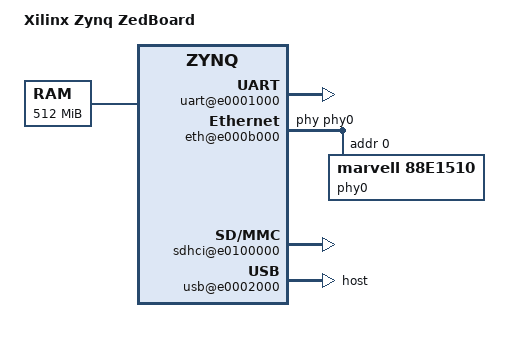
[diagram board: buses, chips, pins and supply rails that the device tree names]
/dts-v1/;

/ {
	model = "Xilinx Zynq ZedBoard";
	compatible = "xlnx,zynq-zc702";
	#address-cells = <0x1>;
	#size-cells = <0x1>;
	interrupt-parent = <0x1>;

	memory {
		device_type = "memory";
		reg = <0x0 0x20000000>;
   	};

	chosen {
		bootargs = "console=ttyPS0,115200 root=/dev/ram rw initrd=0x2000000,32M earlyprintk maxcpus=2 debug ip=192.168.1.10";
		linux,stdout-path = "/amba@0/uart@E0001000";
	};

amba@0 {
		compatible = "simple-bus";
		#address-cells = <0x1>;
		#size-cells = <0x1>;
		ranges;

		gic: intc@f8f01000 {
			interrupt-controller;
			compatible = "arm,cortex-a9-gic";
			#interrupt-cells = <3>;
			reg = < 0xf8f01000 0x1000 >,
			      < 0xf8f00100 0x0100 >;
		};

		pl310@f8f02000 {
			compatible = "arm,pl310-cache";
			cache-unified;
			cache-level = <2>;
			reg = <0xf8f02000 0x1000>;
			arm,data-latency = <3 2 2>;
			arm,tag-latency = <2 2 2>;
			interrupts = <0 34 4>;
		};

		uart@e0001000 {
			compatible = "xlnx,ps7-uart-1.00.a";
			reg = <0xe0001000 0x1000>;
			interrupts = < 0 50 0 >;
			interrupt-parent = <&gic>;
			clock = <50000000>;
		};

		timer@0xf8001000 {
			compatible = "xlnx,ps7-ttc-1.00.a";
			reg = <0xf8001000 0x1000>;
			interrupts = <0 10 0>,<0 11 0>,<0 12 0>; 
			interrupt-parent = <&gic>;
			clock-frequency-timer0 = <111111111>;
			clock-frequency-timer1 = <111111111>;
			clock-frequency-timer2 = <111111111>;
		};

		swdt@f8005000 {
			device_type = "watchdog";
			compatible = "xlnx,ps7-wdt-1.00.a";
			reg = <0xf8005000 0x100>;
			clock-frequency = <111111111>;
		};

		eth@e000b000 {
			compatible = "xlnx,ps7-ethernet-1.00.a";
			reg = <0xe000b000 0x1000>;
			interrupts = <0 22 0>;
			interrupt-parent = <&gic>;
			phy-handle = <&phy0>;
			xlnx,ptp-enet-clock = <111111111>;
			xlnx,slcr-div0-1000Mbps = <8>;
			xlnx,slcr-div0-100Mbps = <8>;
			xlnx,slcr-div0-10Mbps = <8>;
			xlnx,slcr-div1-1000Mbps = <1>;
			xlnx,slcr-div1-100Mbps = <5>;
			xlnx,slcr-div1-10Mbps = <50>;
			#address-cells = <0x1>;
			#size-cells = <0x0>;

			phy0: phy@0 {
				compatible = "marvell,88e1510";
				device_type = "ethernet-phy";
				reg = <0x0>;
				marvell,reg-init=<3 16 0xff00 0x1e 3 17 0xfff0 0x0a>;
			};
		};

		sdhci@e0100000 {
			compatible = "xlnx,ps7-sdhci-1.00.a";
			reg = <0xe0100000 0x1000>;
			xlnx,has-cd = <0x1>;
			interrupts = <0 24 0>;
			interrupt-parent = <&gic>;
			clock-frequency = <33333000>;
		};

		usb@e0002000 {
			compatible = "xlnx,ps7-usb-1.00.a";
			reg = <0xe0002000 0x1000>;
			interrupts = <0 21 0>;
			interrupt-parent = <&gic>;
			dr_mode = "host";
			phy_type = "ulpi";
		};

		gpio@e000a000 {
			compatible = "xlnx,ps7-gpio-1.00.a";
			reg = <0xe000a000 0x1000>;
			interrupts = <0 20 0>;
			interrupt-parent = <&gic>;
		};
		devcfg@f8007000 {
			compatible = "xlnx,ps7-dev-cfg-1.00.a";
			reg = <0xf8007000 0x100>;
			interrupts = <0 8 0>;
			interrupt-parent = <&gic>;
		};
		logicvc@40030000 {
			compatible = "xylon,logicvc-2.05.b", "xylon,logicvc-2.05.c";
			reg = <0x40030000 0x6000>;
			interrupts = <0x5b 0x0>;
			buffer-0-offset = <0x438>;
			buffer-1-offset = <0x438>;
			buffer-2-offset = <0x438>;
			buffer-3-offset = <0x438>;
			buffer-4-offset = <0x438>;
			display-interface = <0x0>;
			e-data-width = <0x18>;
			e-layer = <0x0>;
			interconnect-m-axi-arb-priority = <0xf>;
			ip-license-type = <0x0>;
			ip-major-revision = <0x2>;
			ip-minor-revision = <0x5>;
			ip-patch-level = <0x0>;
			layer-0-alpha-mode = <0x1>;
			layer-0-data-width = <0x18>;
			layer-0-offset = <0x1c7a>;
			layer-1-alpha-mode = <0x0>;
			layer-1-data-width = <0x18>;
			layer-1-offset = <0xfd2>;
			layer-2-alpha-mode = <0x0>;
			layer-2-data-width = <0x18>;
			layer-2-offset = <0x0>;
			layer-3-alpha-mode = <0x3>;
			layer-3-data-width = <0x8>;
			layer-3-offset = <0x32a0>;
			layer-4-alpha-mode = <0x0>;
			layer-4-data-width = <0x18>;
			layer-4-offset = <0x2c4c>;
			little-endian = <0x1>;
			lvds-data-width = <0x4>;
			mem-burst = <0x4>;
			mplb-awidth = <0x20>;
			mplb-dwidth = <0x40>;
			mplb-native-dwidth = <0x20>;
			mplb-num-masters = <0x8>;
			mplb-p2p = <0x0>;
			mplb-priority = <0x3>;
			mplb-smallest-slave = <0x20>;
			mplb-support-bursts = <0x1>;
			num-of-layers = <0x5>;
			pixel-data-width = <0x18>;
			readable-regs = <0x1>;
			regs-interface = <0x2>;
			regs-little-endian = <0x1>;
			row-stride = <0x800>;
			use-background = <0x1>;
			use-e-rgb-input = <0x0>;
			use-e-vclk-bufgmux = <0x1>;
			use-io-hw-serializer = <0x0>;
			use-multiplier = <0x2>;
			use-serialized-blender = <0x0>;
			use-size-position = <0x1>;
			use-xtreme-dsp = <0x2>;
			vmem-baseaddr = <0x10000000>;
			vmem-highaddr = <0x1fffffff>;
			vmem-data-bus-width = <0x40>;
			vmem-interface = <0x2>;
		};
		xylon-video-params {
			pixel-data-invert = <0x0>;
			pixel-clock-active-high = <0x1>;
			pixel-component-format = "ARGB";
			pixel-component-layer = <0x0 0x1>;
			active-layer = <0x3>;
			videomode = "1024x768";
			800x480_TM050RBH01 {
				refresh = <0x3c>;
				xres = <0x320>;
				yres = <0x1e0>;
				pixclock-khz = <0x7530>;
				left-margin = <0x28>;
				right-margin = <0x28>;
				upper-margin = <0x1d>;
				lower-margin = <0xd>;
				hsync-len = <0x30>;
				vsync-len = <0x3>;
				sync = <0x0>;
				vmode = <0x0>;
			};
			1280x720 {
				refresh = <0x3c>;
				xres = <0x500>;
				yres = <0x2d0>;
				pixclock-khz = <0x1220a>;
				left-margin = <0xdc>;
				right-margin = <0x6e>;
				upper-margin = <0x14>;
				lower-margin = <0x5>;
				hsync-len = <0x28>;
				vsync-len = <0x5>;
				sync = <0x0>;
				vmode = <0x0>;
			};
			1680x1050 {
				refresh = <0x3c>;
				xres = <0x690>;
				yres = <0x41a>;
				pixclock-khz = <0x1d0d8>;
				left-margin = <0x50>;
				right-margin = <0x30>;
				upper-margin = <0x15>;
				lower-margin = <0x3>;
				hsync-len = <0x20>;
				vsync-len = <0x6>;
				sync = <0x0>;
				vmode = <0x0>;
			};
			1920x1080 {
				refresh = <0x3c>;
				xres = <0x780>;
				yres = <0x438>;
				pixclock-khz = <0x24414>;
				left-margin = <0x94>;
				right-margin = <0x58>;
				upper-margin = <0x24>;
				lower-margin = <0x4>;
				hsync-len = <0x2c>;
				vsync-len = <0x5>;
				sync = <0x0>;
				vmode = <0x0>;
			};
		};
		logibitblt@40080000 {
			compatible = "xylon,logibitblt-3.00.a";
			reg = <0x40080000 0xffff>;
			interrupts = <0x5a 0x0>;
			bb-baseaddr = <0x30000000>;
			bb-highaddr = <0x37ffffff>;
			use-move-neg = <0x0>;
			use-expand = <0x0>;
			use-patt-fill = <0x1>;
			use-rle = <0x0>;
			use-porter-duff = <0x1>;
			use-aa-font-expand = <0x1>;
			use-global-alpha = <0x1>;
		};
		logibmp@40090000 {
			compatible = "xylon,logibmp-2.01.a";
			interrupts = <0x59 0x0>;
			reg = <0x40090000 0xffff>;
			video-stride-width = <0xb>;
			use-video-stride-reg = <0x1>;
			xy-width = <0xb>;
			uv-width = <0xb>;
		};
		logi3d@0x400b0000 {
			compatible = "xylon,logi3d-1.00.a";
			ip-major-revision = <0x1>;
			ip-minor-revision = <0x0>;
			ip-patch-revision = <0x0>;
			reg3dSize = <0x400>;
			pReg3dPhys = <0x400b0000>;
			pReg3dVirt = <0x0>;
			mem3dSize = <0xb000000>;
			pMem3dPhys = <0x15000000>;
			pMem3dVirt = <0x0>;
			fbSize = <0x1950000>;
			pFbPhys = <0x0>;
			pFbVirt = <0x0>;
			bufferOffset = <0x438>;
			xyLength = <0xb>;
			uvLength = <0xa>;
			pLength = <0x20>;
			zLength = <0x10>;
			stencilLength = <0x8>;
			rgbLength = <0x8>;
			useMimap = <0x1>;
			useMultitexture = <0x1>;
		};
		clkgen@40010000 {
			compatible = "xylon,clkgen-1.01.a";
			reg = <0x40010000 0xffff>;
			osc-clk-freq-hz = <0x5f5e100>;
		};
		led-brightness@41200008 {
			compatible = "avnet,led-brightness";
			reg = <0x41200008 0x20>;
		};
	};
};
